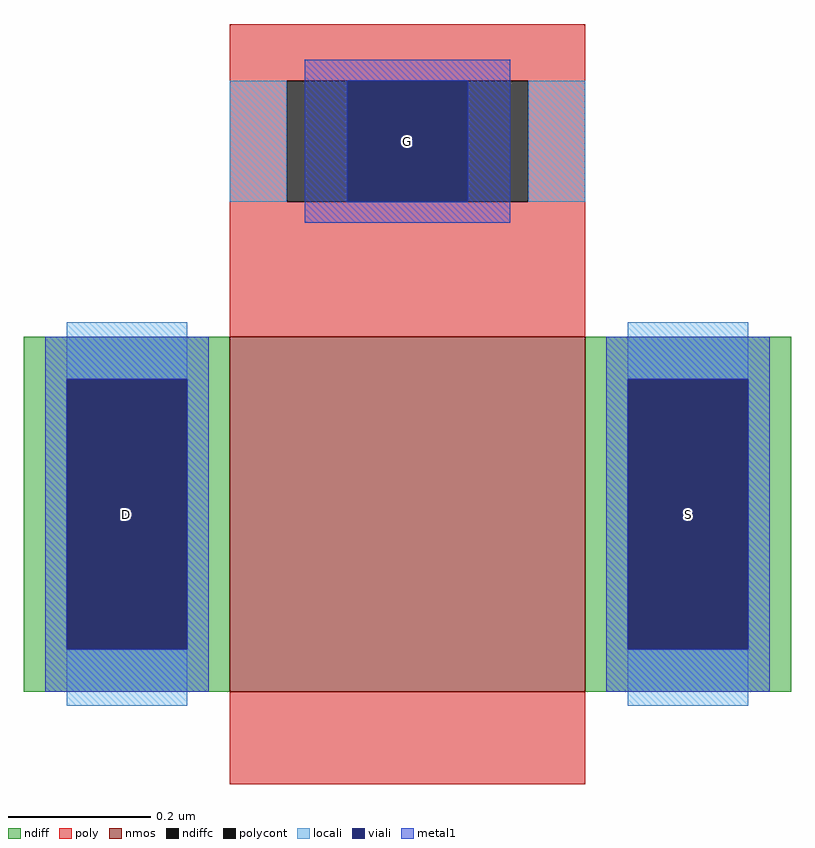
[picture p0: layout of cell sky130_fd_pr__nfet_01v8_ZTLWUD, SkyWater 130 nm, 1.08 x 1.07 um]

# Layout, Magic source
magic
tech sky130A
magscale 1 2
<< nmos >>
rect -50 -81 50 19
<< ndiff >>
rect -108 7 -50 19
rect -108 -69 -96 7
rect -62 -69 -50 7
rect -108 -81 -50 -69
rect 50 7 108 19
rect 50 -69 62 7
rect 96 -69 108 7
rect 50 -81 108 -69
<< ndiffc >>
rect -96 -69 -62 7
rect 62 -69 96 7
<< poly >>
rect -50 91 50 107
rect -50 57 -34 91
rect 34 57 50 91
rect -50 19 50 57
rect -50 -107 50 -81
<< polycont >>
rect -34 57 34 91
<< locali >>
rect -50 57 -34 91
rect 34 57 50 91
rect -96 7 -62 23
rect -96 -85 -62 -69
rect 62 7 96 23
rect 62 -85 96 -69
<< viali >>
rect -17 57 17 91
rect -96 -69 -62 7
rect 62 -69 96 7
<< metal1 >>
rect -29 91 29 97
rect -29 57 -17 91
rect 17 57 29 91
rect -29 51 29 57
rect -102 7 -56 19
rect -102 -69 -96 7
rect -62 -69 -56 7
rect -102 -81 -56 -69
rect 56 7 102 19
rect 56 -69 62 7
rect 96 -69 102 7
rect 56 -81 102 -69
<< labels >>
rlabel ndiffc -79 -31 -79 -31 0 D
port 1 nsew
rlabel ndiffc 79 -31 79 -31 0 S
port 2 nsew
rlabel polycont 0 74 0 74 0 G
port 3 nsew
<< properties >>
string gencell sky130_fd_pr__nfet_01v8
string library sky130
string parameters w 0.5 l 0.5 m 1 nf 1 diffcov 100 polycov 100 guard 0 glc 1 grc 1 gtc 1 gbc 1 tbcov 100 rlcov 100 topc 1 botc 0 poverlap 0 doverlap 1 lmin 0.15 wmin 0.42 class mosfet compatible {sky130_fd_pr__nfet_01v8 sky130_fd_pr__nfet_01v8_lvt  sky130_fd_bs_flash__special_sonosfet_star  sky130_fd_pr__nfet_g5v0d10v5 sky130_fd_pr__nfet_05v0_nvt  sky130_fd_pr__nfet_03v3_nvt} full_metal 1 conn_gates 0 viasrc 100 viadrn 100 viagate +20 viagb 0 viagr 0 viagl 0 viagt 0 doports 1
<< end >>
